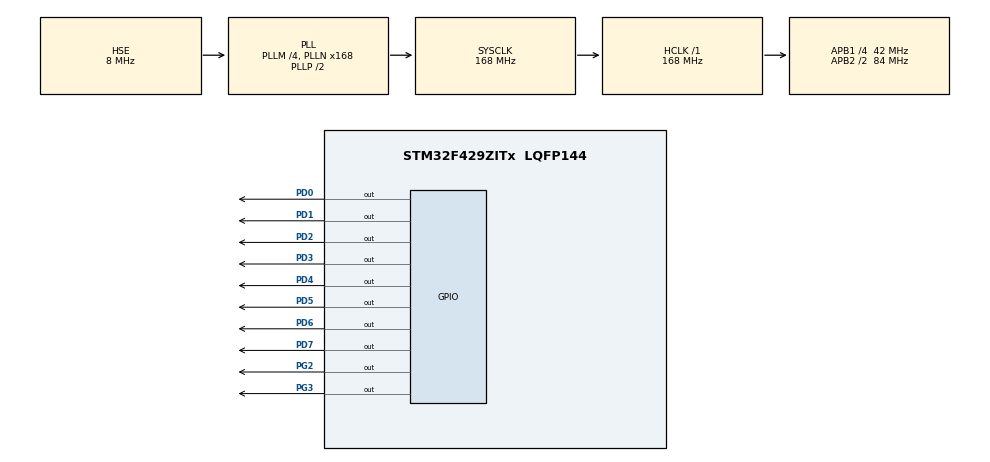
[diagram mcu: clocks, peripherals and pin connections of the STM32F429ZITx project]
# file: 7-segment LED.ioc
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Mcu.Family=STM32F4
Mcu.Name=STM32F429ZITx
Mcu.Package=LQFP144
NVIC.PriorityGroup=NVIC_PRIORITYGROUP_4
NVIC.TIM6_DAC_IRQn=true\:0\:0\:false\:false\:true\:true\:true\:true
PD0.Signal=GPIO_Output
PD1.Signal=GPIO_Output
PD2.Signal=GPIO_Output
PD3.Signal=GPIO_Output
PD4.Signal=GPIO_Output
PD5.Signal=GPIO_Output
PD6.Signal=GPIO_Output
PD7.Signal=GPIO_Output
PG2.Signal=GPIO_Output
PG3.Signal=GPIO_Output
PH0/OSC_IN.Mode=HSE-External-Oscillator
PH0/OSC_IN.Signal=RCC_OSC_IN
PH1/OSC_OUT.Mode=HSE-External-Oscillator
PH1/OSC_OUT.Signal=RCC_OSC_OUT
ProjectManager.HeapSize=0x200
ProjectManager.StackSize=0x400
ProjectManager.TargetToolchain=STM32CubeIDE
RCC.48MHZClocksFreq_Value=84000000
RCC.AHBFreq_Value=168000000
RCC.APB1CLKDivider=RCC_HCLK_DIV4
RCC.APB1Freq_Value=42000000
RCC.APB1TimFreq_Value=84000000
RCC.APB2CLKDivider=RCC_HCLK_DIV2
RCC.APB2Freq_Value=84000000
RCC.APB2TimFreq_Value=168000000
RCC.CortexFreq_Value=168000000
RCC.HCLKFreq_Value=168000000
RCC.HSE_VALUE=8000000
RCC.HSI_VALUE=16000000
RCC.LSE_VALUE=32768
RCC.PLLM=4
RCC.PLLN=168
RCC.PLLSourceVirtual=RCC_PLLSOURCE_HSE
RCC.SYSCLKFreq_VALUE=168000000
RCC.SYSCLKSource=RCC_SYSCLKSOURCE_PLLCLK
RCC.VCOOutputFreq_Value=336000000
TIM6.AutoReloadPreload=TIM_AUTORELOAD_PRELOAD_ENABLE
TIM6.Period=9999
TIM6.Prescaler=8400
VP_TIM6_VS_ClockSourceINT.Mode=Enable_Timer
board=custom

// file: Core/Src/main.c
/* USER CODE BEGIN Header */
/**
  ******************************************************************************
  * @file           : main.c
  * @brief          : Main program body
  ******************************************************************************
  * @attention
  *
  * Copyright (c) 2024 STMicroelectronics.
  * All rights reserved.
  *
  * This software is licensed under terms that can be found in the LICENSE file
  * in the root directory of this software component.
  * If no LICENSE file comes with this software, it is provided AS-IS.
  *
  ******************************************************************************
  */
/* USER CODE END Header */
#include "main.h"

TIM_HandleTypeDef htim6;

/* USER CODE BEGIN PV */
uint8_t counter = 0;
const uint8_t led_7segment_digits[] = {
    0xBF, // 0: 1011 1111 (fedcba)
    0x86, // 1: 1000 0110 (cb)
    0xDB, // 2: 1101 1011 (gedba)
    0xCF, // 3: 1100 1111 (gdcba)
    0xE6, // 4: 1110 0110 (gfcb)
    0xED, // 5: 1110 1101 (gfdca)
    0xFD, // 6: 1111 1101 (gfedca)
    0x87, // 7: 1000 0111 (cba)
    0xFF, // 8: 1111 1111 (gfedcba)
    0xEF  // 9: 1110 1111 (gfdcba)
};
/* USER CODE END PV */

void SystemClock_Config(void);
static void MX_GPIO_Init(void);
static void MX_TIM6_Init(void);
/* USER CODE BEGIN PFP */
void display_digit(uint8_t digit) {
    uint8_t segments = led_7segment_digits[digit];

    HAL_GPIO_WritePin(GPIOD, GPIO_PIN_0, (segments & 0x01) ? GPIO_PIN_SET : GPIO_PIN_RESET); // Segment A
    HAL_GPIO_WritePin(GPIOD, GPIO_PIN_1, (segments & 0x02) ? GPIO_PIN_SET : GPIO_PIN_RESET); // Segment B
    HAL_GPIO_WritePin(GPIOD, GPIO_PIN_2, (segments & 0x04) ? GPIO_PIN_SET : GPIO_PIN_RESET); // Segment C
    HAL_GPIO_WritePin(GPIOD, GPIO_PIN_3, (segments & 0x08) ? GPIO_PIN_SET : GPIO_PIN_RESET); // Segment D
    HAL_GPIO_WritePin(GPIOD, GPIO_PIN_4, (segments & 0x10) ? GPIO_PIN_SET : GPIO_PIN_RESET); // Segment E
    HAL_GPIO_WritePin(GPIOD, GPIO_PIN_5, (segments & 0x20) ? GPIO_PIN_SET : GPIO_PIN_RESET); // Segment F
    HAL_GPIO_WritePin(GPIOD, GPIO_PIN_6, (segments & 0x40) ? GPIO_PIN_SET : GPIO_PIN_RESET); // Segment G

    HAL_GPIO_WritePin(GPIOD, GPIO_PIN_7, (segments & 0x80) ? GPIO_PIN_SET : GPIO_PIN_RESET); // Segment DP
}
/* USER CODE END PFP */

int main(void)
{

  /* MCU Configuration--------------------------------------------------------*/

  /* Reset of all peripherals, Initializes the Flash interface and the Systick. */
  HAL_Init();

  /* Configure the system clock */
  SystemClock_Config();

  /* Initialize all configured peripherals */
  MX_GPIO_Init();
  MX_TIM6_Init();
  /* USER CODE BEGIN 2 */
  HAL_TIM_Base_Start_IT(&htim6);
  /* USER CODE END 2 */

  /* Infinite loop */
  /* USER CODE BEGIN WHILE */
  while (1)
  {
	  uint8_t tens = counter / 10;
	  HAL_GPIO_WritePin(GPIOG, GPIO_PIN_2, GPIO_PIN_SET);   // LED 1 on (Tens)
	  HAL_GPIO_WritePin(GPIOG, GPIO_PIN_3, GPIO_PIN_RESET); // LED 2 off (Units)
	  display_digit(tens);
	  HAL_Delay(5);

	  uint8_t units = counter % 10;
	  HAL_GPIO_WritePin(GPIOG, GPIO_PIN_2, GPIO_PIN_RESET); // LED 1 off (Tens)
	  HAL_GPIO_WritePin(GPIOG, GPIO_PIN_3, GPIO_PIN_SET);   // LED 2 on (Units)
	  display_digit(units);
	  HAL_Delay(5);
    /* USER CODE END WHILE */

  }
}

void SystemClock_Config(void)
{
  RCC_OscInitTypeDef RCC_OscInitStruct = {0};
  RCC_ClkInitTypeDef RCC_ClkInitStruct = {0};

  /** Configure the main internal regulator output voltage
  */
  __HAL_RCC_PWR_CLK_ENABLE();
  __HAL_PWR_VOLTAGESCALING_CONFIG(PWR_REGULATOR_VOLTAGE_SCALE1);

  /** Initializes the RCC Oscillators according to the specified parameters
  * in the RCC_OscInitTypeDef structure.
  */
  RCC_OscInitStruct.OscillatorType = RCC_OSCILLATORTYPE_HSE;
  RCC_OscInitStruct.HSEState = RCC_HSE_ON;
  RCC_OscInitStruct.PLL.PLLState = RCC_PLL_ON;
  RCC_OscInitStruct.PLL.PLLSource = RCC_PLLSOURCE_HSE;
  RCC_OscInitStruct.PLL.PLLM = 4;
  RCC_OscInitStruct.PLL.PLLN = 168;
  RCC_OscInitStruct.PLL.PLLP = RCC_PLLP_DIV2;
  RCC_OscInitStruct.PLL.PLLQ = 4;
  if (HAL_RCC_OscConfig(&RCC_OscInitStruct) != HAL_OK)
  {
    Error_Handler();
  }

  /** Initializes the CPU, AHB and APB buses clocks
  */
  RCC_ClkInitStruct.ClockType = RCC_CLOCKTYPE_HCLK|RCC_CLOCKTYPE_SYSCLK
                              |RCC_CLOCKTYPE_PCLK1|RCC_CLOCKTYPE_PCLK2;
  RCC_ClkInitStruct.SYSCLKSource = RCC_SYSCLKSOURCE_PLLCLK;
  RCC_ClkInitStruct.AHBCLKDivider = RCC_SYSCLK_DIV1;
  RCC_ClkInitStruct.APB1CLKDivider = RCC_HCLK_DIV4;
  RCC_ClkInitStruct.APB2CLKDivider = RCC_HCLK_DIV2;

  if (HAL_RCC_ClockConfig(&RCC_ClkInitStruct, FLASH_LATENCY_5) != HAL_OK)
  {
    Error_Handler();
  }
}

static void MX_TIM6_Init(void)
{

  TIM_MasterConfigTypeDef sMasterConfig = {0};

  htim6.Instance = TIM6;
  htim6.Init.Prescaler = 8400;
  htim6.Init.CounterMode = TIM_COUNTERMODE_UP;
  htim6.Init.Period = 9999;
  htim6.Init.AutoReloadPreload = TIM_AUTORELOAD_PRELOAD_ENABLE;
  if (HAL_TIM_Base_Init(&htim6) != HAL_OK)
  {
    Error_Handler();
  }
  sMasterConfig.MasterOutputTrigger = TIM_TRGO_RESET;
  sMasterConfig.MasterSlaveMode = TIM_MASTERSLAVEMODE_DISABLE;
  if (HAL_TIMEx_MasterConfigSynchronization(&htim6, &sMasterConfig) != HAL_OK)
  {
    Error_Handler();
  }

}

static void MX_GPIO_Init(void)
{
  GPIO_InitTypeDef GPIO_InitStruct = {0};

  /* GPIO Ports Clock Enable */
  __HAL_RCC_GPIOH_CLK_ENABLE();
  __HAL_RCC_GPIOG_CLK_ENABLE();
  __HAL_RCC_GPIOD_CLK_ENABLE();

  /*Configure GPIO pin Output Level */
  HAL_GPIO_WritePin(GPIOG, GPIO_PIN_2|GPIO_PIN_3, GPIO_PIN_RESET);

  /*Configure GPIO pin Output Level */
  HAL_GPIO_WritePin(GPIOD, GPIO_PIN_0|GPIO_PIN_1|GPIO_PIN_2|GPIO_PIN_3
                          |GPIO_PIN_4|GPIO_PIN_5|GPIO_PIN_6|GPIO_PIN_7, GPIO_PIN_RESET);

  /*Configure GPIO pins : PG2 PG3 */
  GPIO_InitStruct.Pin = GPIO_PIN_2|GPIO_PIN_3;
  GPIO_InitStruct.Mode = GPIO_MODE_OUTPUT_PP;
  GPIO_InitStruct.Pull = GPIO_NOPULL;
  GPIO_InitStruct.Speed = GPIO_SPEED_FREQ_LOW;
  HAL_GPIO_Init(GPIOG, &GPIO_InitStruct);

  /*Configure GPIO pins : PD0 PD1 PD2 PD3
                           PD4 PD5 PD6 PD7 */
  GPIO_InitStruct.Pin = GPIO_PIN_0|GPIO_PIN_1|GPIO_PIN_2|GPIO_PIN_3
                          |GPIO_PIN_4|GPIO_PIN_5|GPIO_PIN_6|GPIO_PIN_7;
  GPIO_InitStruct.Mode = GPIO_MODE_OUTPUT_PP;
  GPIO_InitStruct.Pull = GPIO_NOPULL;
  GPIO_InitStruct.Speed = GPIO_SPEED_FREQ_LOW;
  HAL_GPIO_Init(GPIOD, &GPIO_InitStruct);

}

void Error_Handler(void)
{
  __disable_irq();
  while (1)
  {
  }
}
